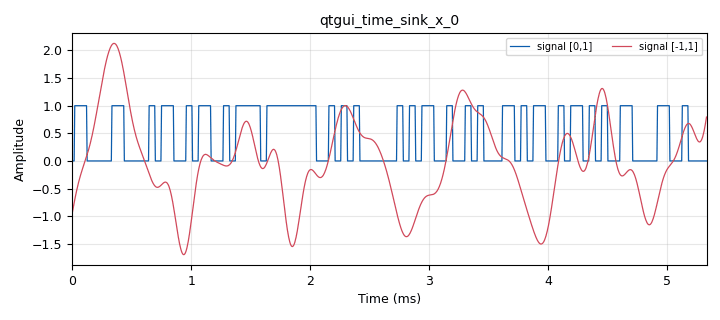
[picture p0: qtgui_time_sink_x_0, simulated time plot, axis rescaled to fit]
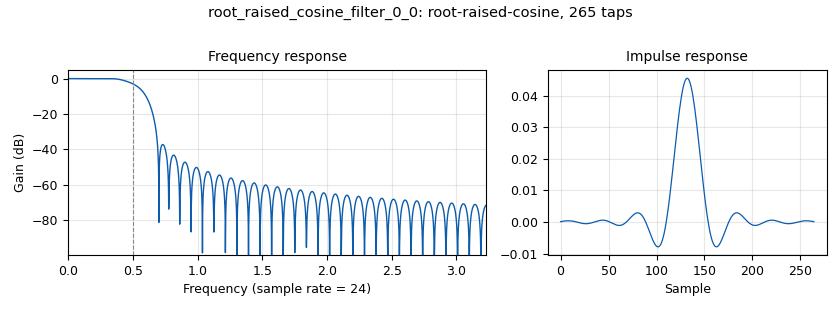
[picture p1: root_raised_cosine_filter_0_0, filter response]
options:
  parameters:
    author: gkokol
    generate_options: qt_gui
    id: gk
    output_language: python
    title: exercise 1
  states: {}

blocks:
- name: amplitude
  id: variable_qtgui_range
  parameters:
    label: amplitude
    orient: Qt.Horizontal
    start: '0'
    step: '1'
    stop: '100'
    value: '1'
  states: {}
- name: carier_freq
  id: variable_qtgui_range
  parameters:
    label: carier_freq
    orient: Qt.Horizontal
    start: '0'
    step: 1e3
    stop: 10e3
    value: 1e3
  states: {}
- name: modulation_index
  id: variable_qtgui_range
  parameters:
    label: modulation_index
    orient: Qt.Horizontal
    start: '0'
    step: '0.1'
    stop: '1'
    value: '1'
  states: {}
- name: samp_rate
  id: variable
  parameters:
    value: 192e3
  states: {}
- name: analog_const_source_x_0
  id: analog_const_source_x
  parameters:
    const: '1'
    type: float
  states: {}
- name: analog_const_source_x_1
  id: analog_const_source_x
  parameters:
    const: modulation_index
    type: float
  states: {}
- name: analog_const_source_x_1_0
  id: analog_const_source_x
  parameters:
    const: amplitude
    type: float
  states: {}
- name: analog_random_source_x_0
  id: analog_random_source_x
  parameters:
    max: '2'
    min: '0'
    num_samps: '9600'
    repeat: 'True'
    type: byte
  states: {}
- name: analog_random_source_x_0_0
  id: analog_random_source_x
  parameters:
    max: '2'
    min: '0'
    num_samps: '9600'
    repeat: 'True'
    type: byte
  states: {}
- name: analog_sig_source_x_0
  id: analog_sig_source_x
  parameters:
    amp: '1'
    freq: carier_freq
    offset: '0'
    phase: '0'
    samp_rate: samp_rate
    type: float
    waveform: analog.GR_COS_WAVE
  states: {}
- name: blocks_add_xx_0
  id: blocks_add_xx
  parameters:
    type: float
  states: {}
- name: blocks_char_to_float_0
  id: blocks_char_to_float
  parameters:
    scale: '1'
  states: {}
- name: blocks_multiply_xx_0
  id: blocks_multiply_xx
  parameters:
    type: float
  states: {}
- name: blocks_multiply_xx_0_0
  id: blocks_multiply_xx
  parameters:
    type: float
  states: {}
- name: blocks_multiply_xx_0_0_0
  id: blocks_multiply_xx
  parameters:
    type: float
  states: {}
- name: blocks_repeat_0
  id: blocks_repeat
  parameters:
    interp: '10'
    type: byte
  states: {}
- name: blocks_repeat_0_0
  id: blocks_repeat
  parameters:
    interp: '10'
    type: float
  states: {}
- name: blocks_throttle_0
  id: blocks_throttle
  parameters:
    samples_per_second: samp_rate
    type: byte
  states: {}
- name: blocks_uchar_to_float_0
  id: blocks_uchar_to_float
  parameters: {}
  states: {}
- name: digital_map_bb_0
  id: digital_map_bb
  parameters:
    map: '[-1,1]'
  states: {}
- name: qtgui_time_sink_x_0
  id: qtgui_time_sink_x
  parameters:
    label1: signal [0,1]
    label2: signal [-1,1]
    nconnections: '2'
    size: '1024'
    srate: samp_rate
    type: float
  states: {}
- name: root_raised_cosine_filter_0_0
  id: root_raised_cosine_filter
  parameters:
    alpha: '0.35'
    decim: '1'
    gain: '1'
    ntaps: 11* 24
    samp_rate: '24'
    sym_rate: '1.0'
    type: fir_filter_fff
  states: {}

connections:
- [analog_const_source_x_0, '0', blocks_add_xx_0, '1']
- [analog_const_source_x_1, '0', blocks_multiply_xx_0, '1']
- [analog_const_source_x_1_0, '0', blocks_multiply_xx_0_0, '1']
- [analog_random_source_x_0, '0', blocks_repeat_0, '0']
- [analog_random_source_x_0_0, '0', digital_map_bb_0, '0']
- [analog_sig_source_x_0, '0', blocks_multiply_xx_0_0_0, '1']
- [blocks_add_xx_0, '0', blocks_multiply_xx_0_0, '0']
- [blocks_char_to_float_0, '0', blocks_repeat_0_0, '0']
- [blocks_multiply_xx_0, '0', blocks_add_xx_0, '0']
- [blocks_multiply_xx_0_0, '0', blocks_multiply_xx_0_0_0, '0']
- [blocks_multiply_xx_0_0_0, '0', root_raised_cosine_filter_0_0, '0']
- [blocks_repeat_0, '0', blocks_throttle_0, '0']
- [blocks_repeat_0_0, '0', blocks_multiply_xx_0, '0']
- [blocks_throttle_0, '0', blocks_uchar_to_float_0, '0']
- [blocks_uchar_to_float_0, '0', qtgui_time_sink_x_0, '0']
- [digital_map_bb_0, '0', blocks_char_to_float_0, '0']
- [root_raised_cosine_filter_0_0, '0', qtgui_time_sink_x_0, '1']

metadata:
  file_format: 1
